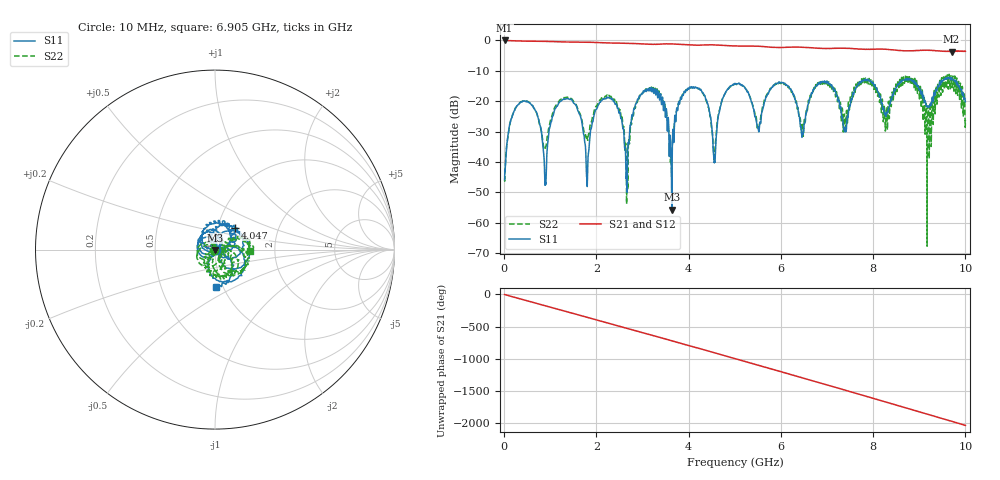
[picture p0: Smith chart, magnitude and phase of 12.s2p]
!Keysight Technologies,E5080B,MY59205177,A.15.75.32
!Date: Friday, February 23, 2024 03:26:26
!Correction: S11(Cdelta 2-Port  )
!S21(Cdelta 2-Port  )
!S12(Cdelta 2-Port  )
!S22(Cdelta 2-Port  )
!S2P File: Measurements: S11, S21, S12, S22:
# Hz S  dB  R 50
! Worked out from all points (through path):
!   10001 points, 10 MHz to 10 GHz, reference 50 ohm
!   highest |S21| = -0.02 dB at 10 MHz (marker M1); lowest = -3.7 dB at 9.701 GHz (marker M2)
!   group delay of S21, straight-line fit = 565 ps
!   lowest |S11| = -55.8 dB at 3.634 GHz (marker M3), VSWR 1.00, Z = 50.1 - j0.142 ohm
!   |S11| at or under -10 dB: start of sweep to end of sweep
!   |S22| runs from -67.8 to -11.2 dB; largest |S21 - S12| = 0.0016
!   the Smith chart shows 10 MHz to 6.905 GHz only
!   S11 on the Smith chart (normalised r, x): 10 MHz: 1.01, -0.00; 4.047 GHz: 1.21, +0.30; 6.905 GHz: 0.92, -0.40
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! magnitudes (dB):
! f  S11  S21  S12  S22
! 10 MHz  -45.9  0.0  0.0  -46.2
! 361.6 MHz  -20.3  -0.2  -0.2  -20.3
! 889.1 MHz  -47.1  -0.3  -0.3  -35.6
! 1.212 GHz  -20.1  -0.5  -0.5  -19.6
! 1.675 GHz  -26.1  -0.6  -0.6  -25.5
! 1.803 GHz  -47.3  -0.6  -0.6  -32.3
! 2.35 GHz  -19.3  -0.9  -0.9  -18.8
! 2.664 GHz  -49.7  -0.9  -0.9  -41.8
! 2.891 GHz  -19.4  -1.1  -1.1  -20.2
! 3.341 GHz  -17.5  -1.2  -1.2  -17.8
! 3.634 GHz  -55.8  -1.1  -1.1  -42.6
! 4.047 GHz  -15.7  -1.5  -1.5  -15.6
! 4.56 GHz  -40.2  -1.5  -1.5  -39.3
! 5.005 GHz  -14.2  -1.8  -1.8  -14.5
! 5.516 GHz  -29.8  -1.9  -1.9  -28.8
! 6.67 GHz  -17.3  -2.4  -2.4  -16.9
! 6.905 GHz  -13.6  -2.6  -2.6  -14.1
! 7.383 GHz  -30.0  -2.6  -2.6  -25.3
! 7.795 GHz  -13.1  -2.9  -2.9  -12.7
! 8.336 GHz  -22.6  -3.0  -3.0  -20.5
! 9.701 GHz  -12.3  -3.7  -3.7  -13.9
! 10 GHz  -20.1  -3.6  -3.6  -26.2
